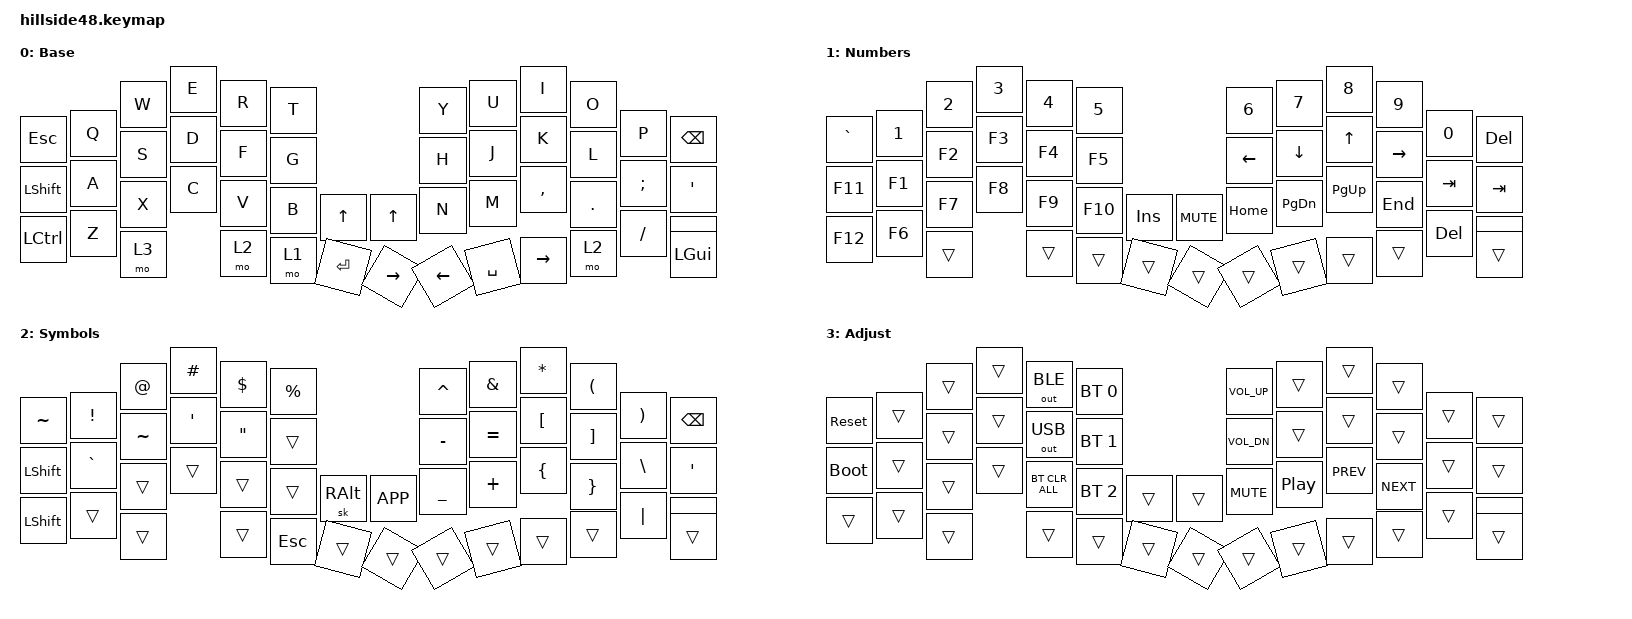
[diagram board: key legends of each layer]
/*
 * Hillside48 Keymap - Using Generic 3x6 Layout + Extras
 * 
 * Core 3x6 + 3 thumbs syncs from generic system
 * Extra keys: outer column + 4th thumb per side
 * 
 * Layout: 3x6 + 2 extra row keys + 4 thumbs = 48 keys
 */

#include <behaviors.dtsi>
#include <dt-bindings/zmk/bt.h>
#include <dt-bindings/zmk/keys.h>
#include <dt-bindings/zmk/outputs.h>

// Include the shared layer definitions FIRST
// #include "generic_3x6_layers.dtsi"

#define QWERTY_L 0
#define SYM_L    1
#define NUM_L    2
#define ADJ_L    3


/ {
    combos {
        compatible = "zmk,combos";

        combo_unlock {
            timeout-ms = <50>;
            key-positions = <0 1>;
            bindings = <&studio_unlock>;
            layers = <0>;
        };
    };

    keymap {
        compatible = "zmk,keymap";

        default_layer {
            display-name = "Base";
            bindings = <
&kp ESC           &kp Q  &kp W  &kp E  &kp R  &kp T                                                         &kp Y      &kp U  &kp I      &kp O     &kp P      &kp BSPC
&kp LEFT_SHIFT    &kp A  &kp S  &kp D  &kp F  &kp G                                                         &kp H      &kp J  &kp K      &kp L     &kp SEMI   &kp SQT
&kp LEFT_CONTROL  &kp Z  &kp X  &kp C  &kp V  &kp B  &kp UP_ARROW                             &kp UP_ARROW  &kp N      &kp M  &kp COMMA  &kp DOT   &kp SLASH  &kp RSHFT
                         &mo 3         &mo 2  &mo 1  &kp ENTER     &kp RIGHT  &kp LEFT_ARROW  &kp SPACE     &kp RIGHT  &mo 2             &kp LGUI
            >;
        };

        num_layer {
            display-name = "Numbers";
            bindings = <
&kp GRAVE  &kp N1  &kp N2  &kp N3  &kp N4  &kp N5                                        &kp N6    &kp N7     &kp N8     &kp N9     &kp N0   &kp DEL
&kp F11    &kp F1  &kp F2  &kp F3  &kp F4  &kp F5                                        &kp LEFT  &kp DOWN   &kp UP     &kp RIGHT  &kp TAB  &kp TAB
&kp F12    &kp F6  &kp F7  &kp F8  &kp F9  &kp F10  &kp INS                  &kp C_MUTE  &kp HOME  &kp PG_DN  &kp PG_UP  &kp END    &kp DEL  &kp INS
                   &trans          &trans  &trans   &trans   &trans  &trans  &trans      &trans    &trans                &trans
            >;
        };

        sym_layer {
            display-name = "Symbols";



            bindings = <
&kp TILDE  &kp EXCL   &kp AT     &kp HASH  &kp DLLR  &kp PRCNT                                       &kp CARET  &kp AMPS   &kp ASTRK  &kp LPAR  &kp RPAR  &kp BSPC
&kp LSHFT  &kp GRAVE  &kp TILDE  &kp SQT   &kp DQT   &trans                                          &kp MINUS  &kp EQUAL  &kp LBKT   &kp RBKT  &kp BSLH  &kp SQT
&kp LSHFT  &trans     &trans     &trans    &trans    &trans     &sk RALT                  &kp K_APP  &kp UNDER  &kp PLUS   &kp LBRC   &kp RBRC  &kp PIPE  &kp RSHFT
                      &trans               &trans    &kp ESC    &trans    &trans  &trans  &trans     &trans     &trans                &trans
            >;
        };

        adj_layer {
            display-name = "Adjust";


            bindings = <
&sys_reset   &trans  &trans  &trans  &out OUT_BLE    &bt BT_SEL 0                                  &kp C_VOL_UP  &trans    &trans      &trans      &trans  &trans
&bootloader  &trans  &trans  &trans  &out OUT_USB    &bt BT_SEL 1                                  &kp C_VOL_DN  &trans    &trans      &trans      &trans  &trans
&trans       &trans  &trans  &trans  &bt BT_CLR_ALL  &bt BT_SEL 2  &trans                  &trans  &kp C_MUTE    &kp C_PP  &kp C_PREV  &kp C_NEXT  &trans  &trans
                     &trans          &trans          &trans        &trans  &trans  &trans  &trans  &trans        &trans                &trans
            >;
        };

        extra1 {
            status = "reserved";
        };

        extra2 {
            status = "reserved";
        };
    };
};
